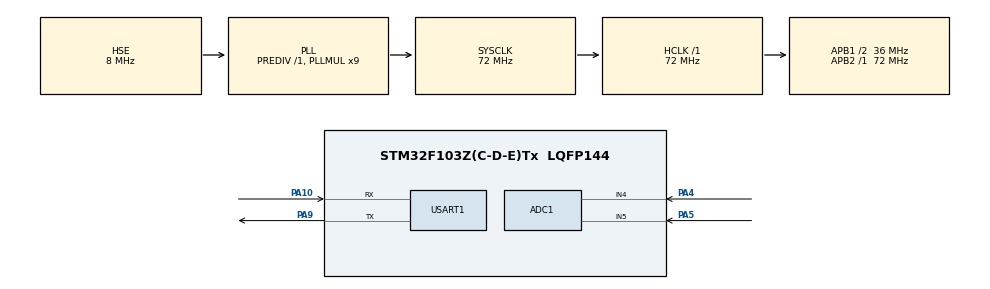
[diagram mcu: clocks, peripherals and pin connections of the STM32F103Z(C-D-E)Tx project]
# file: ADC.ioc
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ADC1.Channel-0\#ChannelRegularConversion=ADC_CHANNEL_5
ADC1.Channel-1\#ChannelRegularConversion=ADC_CHANNEL_4
ADC1.Channel-2\#ChannelRegularConversion=ADC_CHANNEL_TEMPSENSOR
ADC1.Channel-3\#ChannelRegularConversion=ADC_CHANNEL_VREFINT
ADC1.ContinuousConvMode=ENABLE
ADC1.NbrOfConversion=4
ADC1.NbrOfConversionFlag=1
ADC1.Rank-0\#ChannelRegularConversion=1
ADC1.Rank-1\#ChannelRegularConversion=2
ADC1.Rank-2\#ChannelRegularConversion=3
ADC1.Rank-3\#ChannelRegularConversion=4
ADC1.SamplingTime-0\#ChannelRegularConversion=ADC_SAMPLETIME_71CYCLES_5
ADC1.SamplingTime-1\#ChannelRegularConversion=ADC_SAMPLETIME_71CYCLES_5
ADC1.SamplingTime-2\#ChannelRegularConversion=ADC_SAMPLETIME_71CYCLES_5
ADC1.SamplingTime-3\#ChannelRegularConversion=ADC_SAMPLETIME_71CYCLES_5
ADC1.master=1
Dma.ADC1.0.Direction=DMA_PERIPH_TO_MEMORY
Dma.ADC1.0.Instance=DMA1_Channel1
Dma.ADC1.0.MemDataAlignment=DMA_MDATAALIGN_HALFWORD
Dma.ADC1.0.MemInc=DMA_MINC_ENABLE
Dma.ADC1.0.Mode=DMA_CIRCULAR
Dma.ADC1.0.PeriphDataAlignment=DMA_PDATAALIGN_HALFWORD
Dma.ADC1.0.PeriphInc=DMA_PINC_DISABLE
Dma.ADC1.0.Priority=DMA_PRIORITY_LOW
Dma.Request0=ADC1
Mcu.Family=STM32F1
Mcu.Name=STM32F103Z(C-D-E)Tx
Mcu.Package=LQFP144
NVIC.DMA1_Channel1_IRQn=true\:0\:0\:false\:false\:true\:false\:true\:true
NVIC.PriorityGroup=NVIC_PRIORITYGROUP_4
OSC_IN.Mode=HSE-External-Oscillator
OSC_IN.Signal=RCC_OSC_IN
OSC_OUT.Mode=HSE-External-Oscillator
OSC_OUT.Signal=RCC_OSC_OUT
PA10.Mode=Asynchronous
PA10.Signal=USART1_RX
PA13.Mode=Serial_Wire
PA13.Signal=SYS_JTMS-SWDIO
PA14.Mode=Serial_Wire
PA14.Signal=SYS_JTCK-SWCLK
PA4.Signal=ADCx_IN4
PA5.Signal=ADCx_IN5
PA9.Mode=Asynchronous
PA9.Signal=USART1_TX
ProjectManager.HeapSize=0x200
ProjectManager.StackSize=0x400
ProjectManager.TargetToolchain=CMake
RCC.ADCPresc=RCC_ADCPCLK2_DIV6
RCC.AHBFreq_Value=72000000
RCC.APB1CLKDivider=RCC_HCLK_DIV2
RCC.APB1Freq_Value=36000000
RCC.APB1TimFreq_Value=72000000
RCC.APB2Freq_Value=72000000
RCC.APB2TimFreq_Value=72000000
RCC.HCLKFreq_Value=72000000
RCC.PLLMUL=RCC_PLL_MUL9
RCC.PLLSourceVirtual=RCC_PLLSOURCE_HSE
RCC.SYSCLKFreq_VALUE=72000000
RCC.SYSCLKSource=RCC_SYSCLKSOURCE_PLLCLK
RCC.USBFreq_Value=72000000
SH.ADCx_IN4.0=ADC1_IN4,IN4
SH.ADCx_IN5.0=ADC1_IN5,IN5
USART1.VirtualMode=VM_ASYNC
VP_ADC1_TempSens_Input.Mode=IN-TempSens
VP_ADC1_Vref_Input.Mode=IN-Vrefint
board=custom

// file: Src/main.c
/* USER CODE BEGIN Header */
/**
 ******************************************************************************
 * @file           : main.c
 * @brief          : Main program body
 ******************************************************************************
 * @attention
 *
 * Copyright (c) 2025 STMicroelectronics.
 * All rights reserved.
 *
 * This software is licensed under terms that can be found in the LICENSE file
 * in the root directory of this software component.
 * If no LICENSE file comes with this software, it is provided AS-IS.
 *
 ******************************************************************************
 */
/* USER CODE END Header */
#include "main.h"

#include "adc.h"
#include "dma.h"
#include "gpio.h"
#include "usart.h"

/* USER CODE BEGIN Includes */
#include <math.h>
#include <stdint.h>
#include <stdio.h>
#include <string.h>
/* USER CODE END Includes */

/* USER CODE BEGIN PV */
// 电位器电压，NTC 热敏电阻，内部温度传感器，内部参考电压
uint16_t values[4] = {0};
char message[50] = "";
/* USER CODE END PV */

void SystemClock_Config(void);

/* USER CODE BEGIN 0 */
// 开启连续转换后，就不需要中断回调，随时读取数据即可
// void HAL_ADC_ConvCpltCallback(ADC_HandleTypeDef* hadc) {
//     if (hadc->Instance == ADC1) {
//         sprintf(message, "%d, %d, %d, %d\r\n", values[0], values[1], values[2], values[3]);
//         HAL_UART_Transmit(&huart1, (uint8_t*) message, sizeof(message), HAL_MAX_DELAY);
//     }
// }

float ADC2Resistance(uint32_t adc_value) {
    return (adc_value / (4095.0f - adc_value)) * 10000.0f;
}

float resistance2Temperature(float R1) {
    float B = 3950.0f;
    float R2 = 10000.0f;
    float T2 = 25.0f;
    return (1.0 / ((1.0 / B) * log(R1 / R2) + (1.0 / (T2 + 273.15))) - 273.15);
}
/* USER CODE END 0 */

int main(void) {
    /* USER CODE BEGIN 1 */
    float NTC_R = 0.0f;
    float temperature = 0.0f;
    float voltage = 0.0f;
    float Vref = 3.3f;
    /* USER CODE END 1 */

    /* MCU Configuration--------------------------------------------------------*/

    /* Reset of all peripherals, Initializes the Flash interface and the Systick. */
    HAL_Init();

    /* Configure the system clock */
    SystemClock_Config();

    /* Initialize all configured peripherals */
    MX_GPIO_Init();
    MX_DMA_Init();
    MX_ADC1_Init();
    MX_USART1_UART_Init();
    /* USER CODE BEGIN 2 */
    // 进行校准
    HAL_ADCEx_Calibration_Start(&hadc1);

    HAL_ADC_Start_DMA(&hadc1, (uint32_t*) values, sizeof(values) / sizeof(uint16_t));
    /* USER CODE END 2 */

    /* Infinite loop */
    /* USER CODE BEGIN WHILE */
    while (1) {
        // sprintf(message, "%d, %d, %d, %d\r\n", values[0], values[1], values[2], values[3]);
        // HAL_UART_Transmit(&huart1, (uint8_t*) message, sizeof(message), HAL_MAX_DELAY);

        // NTC 热敏电阻的阻值和温度计算
        NTC_R = ADC2Resistance(values[1]);
        temperature = resistance2Temperature(NTC_R);
        sprintf(message, "阻值：%d Ω，温度：%.2f °C\r\n", (int) NTC_R, temperature);
        HAL_UART_Transmit(&huart1, (uint8_t*) message, strlen(message), 500);

        // 由内部的参考电压和 ADC 值计算实际电压值
        Vref = 1.2 * (4095.0 / values[3]);
        voltage = (values[0] / 4095.0) * Vref;
        sprintf(message, "ADC: %d  %.2f V\r\n", values[0], voltage);
        HAL_UART_Transmit(&huart1, (uint8_t*) message, strlen(message), 500);

        HAL_Delay(1000);
        /* USER CODE END WHILE */

    }
}

void SystemClock_Config(void) {
    RCC_OscInitTypeDef RCC_OscInitStruct = {0};
    RCC_ClkInitTypeDef RCC_ClkInitStruct = {0};
    RCC_PeriphCLKInitTypeDef PeriphClkInit = {0};

    /** Initializes the RCC Oscillators according to the specified parameters
     * in the RCC_OscInitTypeDef structure.
     */
    RCC_OscInitStruct.OscillatorType = RCC_OSCILLATORTYPE_HSE;
    RCC_OscInitStruct.HSEState = RCC_HSE_ON;
    RCC_OscInitStruct.HSEPredivValue = RCC_HSE_PREDIV_DIV1;
    RCC_OscInitStruct.HSIState = RCC_HSI_ON;
    RCC_OscInitStruct.PLL.PLLState = RCC_PLL_ON;
    RCC_OscInitStruct.PLL.PLLSource = RCC_PLLSOURCE_HSE;
    RCC_OscInitStruct.PLL.PLLMUL = RCC_PLL_MUL9;
    if (HAL_RCC_OscConfig(&RCC_OscInitStruct) != HAL_OK) {
        Error_Handler();
    }

    /** Initializes the CPU, AHB and APB buses clocks
     */
    RCC_ClkInitStruct.ClockType = RCC_CLOCKTYPE_HCLK | RCC_CLOCKTYPE_SYSCLK | RCC_CLOCKTYPE_PCLK1 | RCC_CLOCKTYPE_PCLK2;
    RCC_ClkInitStruct.SYSCLKSource = RCC_SYSCLKSOURCE_PLLCLK;
    RCC_ClkInitStruct.AHBCLKDivider = RCC_SYSCLK_DIV1;
    RCC_ClkInitStruct.APB1CLKDivider = RCC_HCLK_DIV2;
    RCC_ClkInitStruct.APB2CLKDivider = RCC_HCLK_DIV1;

    if (HAL_RCC_ClockConfig(&RCC_ClkInitStruct, FLASH_LATENCY_2) != HAL_OK) {
        Error_Handler();
    }
    PeriphClkInit.PeriphClockSelection = RCC_PERIPHCLK_ADC;
    PeriphClkInit.AdcClockSelection = RCC_ADCPCLK2_DIV6;
    if (HAL_RCCEx_PeriphCLKConfig(&PeriphClkInit) != HAL_OK) {
        Error_Handler();
    }
}

void Error_Handler(void) {
    __disable_irq();
    while (1) {}
}
